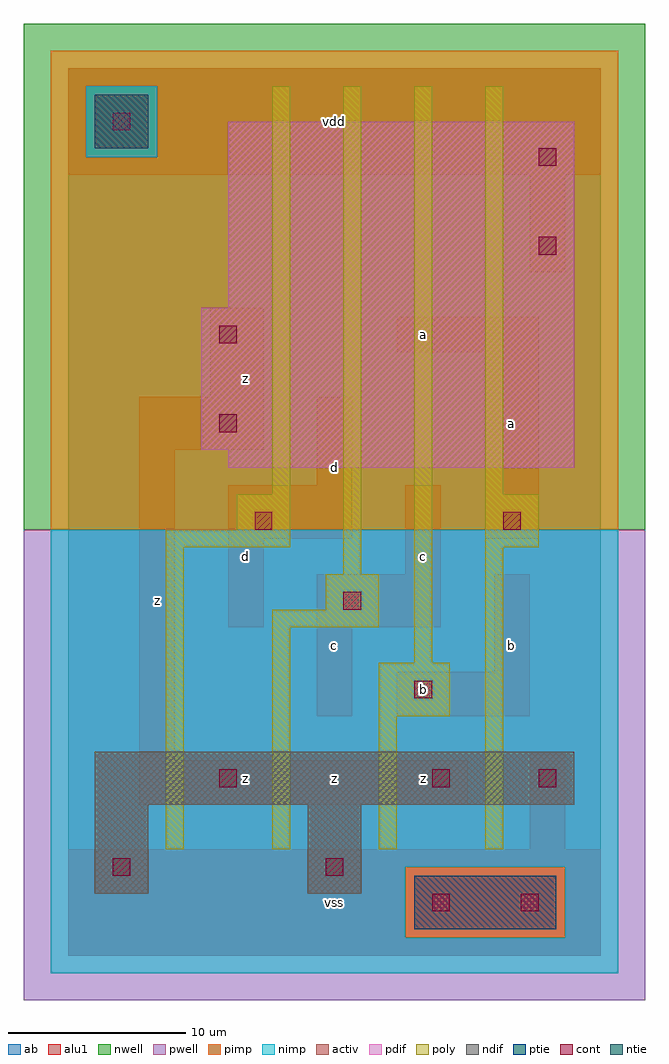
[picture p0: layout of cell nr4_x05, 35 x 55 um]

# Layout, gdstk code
import gdstk
lib = gdstk.Library(unit=1e-6, precision=1e-09)
def R(c, l, rs):  # rectangles x0, y0, x1, y1
    for r in rs: c.add(gdstk.rectangle(r[:2], r[2:], *l))
ndif = (3, 0)
pdif = (4, 0)
ntie = (5, 0)
ptie = (6, 0)
cont = (25, 0)
pwell = (41, 0)
nwell = (42, 0)
activ = (43, 0)
pimp = (44, 0)
nimp = (45, 0)
poly = (46, 0)
alu1 = (49, 0)
ab = (63, 0)

nr4_x05 = lib.new_cell('nr4_x05')
R(nr4_x05, ndif, [(1.5,3.5,4.5,8.5), (13.5,3.5,16.5,8.5), (1.5,8.5,28.5,11.5)])
R(nr4_x05, pdif, [(9,27.5,28.5,28.5), (7.5,28.5,28.5,36.5), (9,36.5,28.5,47)])
R(nr4_x05, ntie, [(1.5,45.5,4.5,48.5)])
R(nr4_x05, ptie, [(19.5,1.5,27.5,4.5)])
R(nr4_x05, cont, [(20.5,2.5,21.5,3.5), (25.5,2.5,26.5,3.5), (2.5,4.5,3.5,5.5), (14.5,4.5,15.5,5.5), (8.5,9.5,9.5,10.5), (20.5,9.5,21.5,10.5), (26.5,9.5,27.5,10.5), (19.5,14.5,20.5,15.5), (15.5,19.5,16.5,20.5), (10.5,24,11.5,25), (24.5,24,25.5,25), (8.5,29.5,9.5,30.5), (8.5,34.5,9.5,35.5), (26.5,39.5,27.5,40.5), (26.5,44.5,27.5,45.5), (2.5,46.5,3.5,47.5)])
R(nr4_x05, pwell, [(-2.5,-2.5,32.5,24)])
R(nr4_x05, nwell, [(-2.5,24,32.5,52.5)])
R(nr4_x05, activ, [(19.5,1.5,27.5,4.5), (1.5,3.5,4.5,8.5), (13.5,3.5,16.5,8.5), (1.5,8.5,28.5,11.5), (9,27.5,28.5,28.5), (7.5,28.5,28.5,36.5), (9,36.5,28.5,47), (1.5,45.5,4.5,48.5)])
R(nr4_x05, pimp, [(19,1,28,5), (-1,24,31,45), (-1,45,1,49), (5,45,31,49), (-1,49,31,51)])
R(nr4_x05, nimp, [(-1,-1,31,1), (-1,1,19,5), (28,1,31,5), (-1,5,31,24), (1,45,5,49)])
R(nr4_x05, poly, [(5.5,6,6.5,23), (11.5,6,12.5,18.5), (17.5,6,18.5,13.5), (23.5,6,24.5,23), (17.5,13.5,21.5,16.5), (19.5,16.5,20.5,49), (11.5,18.5,17.5,19.5), (14.5,19.5,17.5,21.5), (15.5,21.5,16.5,49), (5.5,23,12.5,24), (23.5,23,26.5,26), (9.5,24,12.5,26), (11.5,26,12.5,49), (23.5,26,24.5,49)])
R(nr4_x05, alu1, [(0,0,30,6), (0,0,30,6), (26,6,28,11.5), (26,6,28,11.5), (4,8.5,22.5,11), (4,8.5,22.5,11), (4,11,6,28.5), (4,11,6,28.5), (14,13.5,16,18.5), (14,13.5,16,18.5), (18.5,13.5,26,16), (18.5,13.5,26,16), (24,16,26,21.5), (24,16,26,21.5), (9,18.5,11,23.5), (9,18.5,11,23.5), (14,18.5,21,21.5), (14,18.5,21,21.5), (19,21.5,21,26.5), (19,21.5,21,26.5), (9,23.5,16,26.5), (9,23.5,16,26.5), (23.5,23.5,26.5,34), (23.5,23.5,26.5,34), (14,26.5,16,31.5), (14,26.5,16,31.5), (4,28.5,11,31.5), (4,28.5,11,31.5), (8,31.5,11,36.5), (8,31.5,11,36.5), (18.5,34,26.5,36), (18.5,34,26.5,36), (26,38.5,28,44), (26,38.5,28,44), (0,44,30,50), (0,44,30,50)])
R(nr4_x05, ab, [(0,0,30,50)])
nr4_x05.add(gdstk.Label('z', (5,20), layer=49, texttype=0))
nr4_x05.add(gdstk.Label('z', (10,10), layer=49, texttype=0))
nr4_x05.add(gdstk.Label('d', (10,22.5), layer=49, texttype=0))
nr4_x05.add(gdstk.Label('z', (10,32.5), layer=49, texttype=0))
nr4_x05.add(gdstk.Label('z', (15,10), layer=49, texttype=0))
nr4_x05.add(gdstk.Label('vss', (15,3), layer=49, texttype=0))
nr4_x05.add(gdstk.Label('z', (20,10), layer=49, texttype=0))
nr4_x05.add(gdstk.Label('c', (15,17.5), layer=49, texttype=0))
nr4_x05.add(gdstk.Label('c', (20,22.5), layer=49, texttype=0))
nr4_x05.add(gdstk.Label('b', (20,15), layer=49, texttype=0))
nr4_x05.add(gdstk.Label('d', (15,27.5), layer=49, texttype=0))
nr4_x05.add(gdstk.Label('a', (20,35), layer=49, texttype=0))
nr4_x05.add(gdstk.Label('vdd', (15,47), layer=49, texttype=0))
nr4_x05.add(gdstk.Label('b', (25,17.5), layer=49, texttype=0))
nr4_x05.add(gdstk.Label('a', (25,30), layer=49, texttype=0))

lib.write_gds('nr4_x05.gds')
